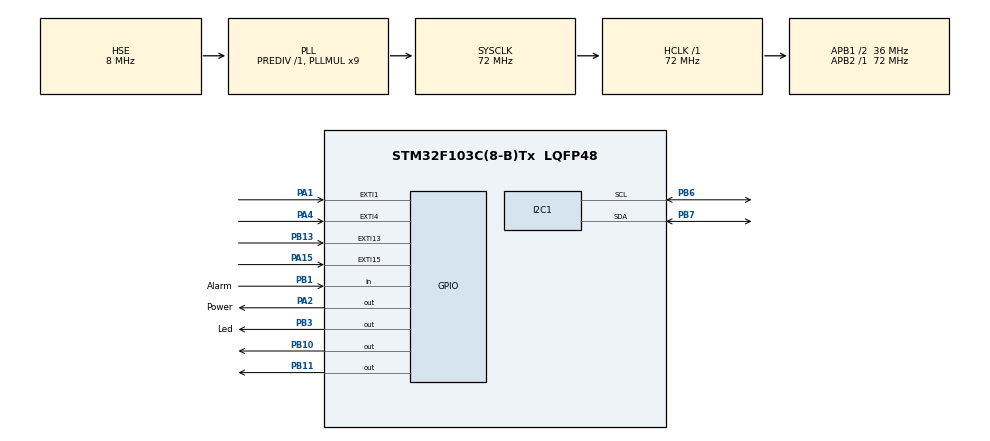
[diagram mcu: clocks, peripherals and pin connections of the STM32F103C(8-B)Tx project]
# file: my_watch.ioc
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FREERTOS.BinarySemaphores01=Key_State,Dynamic,NULL
FREERTOS.INCLUDE_vTaskCleanUpResources=0
FREERTOS.INCLUDE_vTaskDelete=1
FREERTOS.INCLUDE_vTaskPrioritySet=1
FREERTOS.Mutexes01=Time_Signal,Dynamic,NULL;Gyro_Signal,Dynamic,NULL;SW_Signal,Dynamic,NULL
FREERTOS.Tasks01=defaultTask,0,128,StartDefaultTask,Default,NULL,Dynamic,NULL,NULL;RTC_Task,1,64,Read_Time,As external,NULL,Dynamic,NULL,NULL;Root_task,-1,128,Display_Root,As external,NULL,Dynamic,NULL,NULL;Change_Task,-1,128,Display_ChangeTime,As external,NULL,Dynamic,NULL,NULL;Menu_Task,-1,128,Display_Menu,As external,NULL,Dynamic,NULL,NULL;Cartoon_Task,-1,128,Display_Cartoon,As external,NULL,Dynamic,NULL,NULL;Cyro_Task,0,128,Read_Cyro,As external,NULL,Dynamic,NULL,NULL;AlarmSet_Task,-1,128,Alarm_Set,As external,NULL,Dynamic,NULL,NULL;AlarmGo_Task,-1,64,Alarm_Go,As external,NULL,Dynamic,NULL,NULL;Timing_Task,-1,128,Timing,As external,NULL,Dynamic,NULL,NULL;Game_Task,-1,128,Game,As external,NULL,Dynamic,NULL,NULL;Key_Task,1,64,Key_Scan,As external,NULL,Dynamic,NULL,NULL
FREERTOS.configIDLE_SHOULD_YIELD=0
FREERTOS.configMAX_PRIORITIES=5
FREERTOS.configMINIMAL_STACK_SIZE=64
FREERTOS.configTOTAL_HEAP_SIZE=7168
FREERTOS.configUSE_APPLICATION_TASK_TAG=1
FREERTOS.configUSE_MUTEXES=1
I2C1.I2C_Mode=I2C_Fast
Mcu.Family=STM32F1
Mcu.Name=STM32F103C(8-B)Tx
Mcu.Package=LQFP48
NVIC.EXTI15_10_IRQn=true\:5\:0\:false\:false\:true\:true\:true\:true\:true
NVIC.EXTI1_IRQn=true\:5\:0\:false\:false\:true\:true\:true\:true\:true
NVIC.EXTI4_IRQn=true\:5\:0\:false\:false\:true\:true\:true\:true\:true
NVIC.PriorityGroup=NVIC_PRIORITYGROUP_4
NVIC.TIM1_UP_IRQn=true\:15\:0\:false\:false\:true\:false\:false\:true\:true
NVIC.TIM3_IRQn=true\:5\:0\:false\:false\:true\:true\:true\:true\:true
NVIC.TIM4_IRQn=true\:5\:0\:false\:false\:true\:true\:true\:true\:true
NVIC.TimeBase=TIM1_UP_IRQn
NVIC.TimeBaseIP=TIM1
PA1.GPIO_PuPd=GPIO_PULLUP
PA1.Signal=GPXTI1
PA13.Mode=Serial_Wire
PA13.Signal=SYS_JTMS-SWDIO
PA14.Mode=Serial_Wire
PA14.Signal=SYS_JTCK-SWCLK
PA15.GPIO_ModeDefaultEXTI=GPIO_MODE_IT_FALLING
PA15.GPIO_PuPd=GPIO_PULLUP
PA15.Signal=GPXTI15
PA2.GPIO_Label=Power
PA2.PinState=GPIO_PIN_SET
PA2.Signal=GPIO_Output
PA4.GPIO_ModeDefaultEXTI=GPIO_MODE_IT_FALLING
PA4.GPIO_PuPd=GPIO_PULLUP
PA4.Signal=GPXTI4
PB1.GPIO_Label=Alarm
PB1.GPIO_PuPd=GPIO_PULLUP
PB1.Signal=GPIO_Input
PB10.GPIO_Speed=GPIO_SPEED_FREQ_HIGH
PB10.PinState=GPIO_PIN_RESET
PB10.Signal=GPIO_Output
PB11.GPIO_Speed=GPIO_SPEED_FREQ_HIGH
PB11.Signal=GPIO_Output
PB13.GPIO_ModeDefaultEXTI=GPIO_MODE_IT_FALLING
PB13.GPIO_PuPd=GPIO_PULLUP
PB13.Signal=GPXTI13
PB3.GPIO_Label=Led
PB3.Signal=GPIO_Output
PB6.Mode=I2C
PB6.Signal=I2C1_SCL
PB7.Mode=I2C
PB7.Signal=I2C1_SDA
PD0-OSC_IN.Mode=HSE-External-Oscillator
PD0-OSC_IN.Signal=RCC_OSC_IN
PD1-OSC_OUT.Mode=HSE-External-Oscillator
PD1-OSC_OUT.Signal=RCC_OSC_OUT
ProjectManager.HeapSize=0x200
ProjectManager.StackSize=0x400
ProjectManager.TargetToolchain=MDK-ARM V5.32
RCC.AHBFreq_Value=72000000
RCC.APB1CLKDivider=RCC_HCLK_DIV2
RCC.APB1Freq_Value=36000000
RCC.APB1TimFreq_Value=72000000
RCC.APB2Freq_Value=72000000
RCC.APB2TimFreq_Value=72000000
RCC.HCLKFreq_Value=72000000
RCC.PLLMUL=RCC_PLL_MUL9
RCC.PLLSourceVirtual=RCC_PLLSOURCE_HSE
RCC.SYSCLKFreq_VALUE=72000000
RCC.SYSCLKSource=RCC_SYSCLKSOURCE_PLLCLK
RCC.USBFreq_Value=72000000
TIM3.Period=9999
TIM3.Prescaler=7199
TIM4.Period=9999
TIM4.Prescaler=7199
VP_FREERTOS_VS_CMSIS_V1.Mode=CMSIS_V1
VP_SYS_VS_tim1.Mode=TIM1
VP_TIM3_VS_ClockSourceINT.Mode=Internal
VP_TIM4_VS_ClockSourceINT.Mode=Internal
board=custom

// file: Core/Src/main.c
/* USER CODE BEGIN Header */
/**
  ******************************************************************************
  * @file           : main.c
  * @brief          : Main program body
  ******************************************************************************
  * @attention
  *
  * Copyright (c) 2026 STMicroelectronics.
  * All rights reserved.
  *
  * This software is licensed under terms that can be found in the LICENSE file
  * in the root directory of this software component.
  * If no LICENSE file comes with this software, it is provided AS-IS.
  *
  ******************************************************************************
  */
/* USER CODE END Header */
#include "main.h"
#include "cmsis_os.h"
#include "i2c.h"
#include "tim.h"
#include "gpio.h"

/* USER CODE BEGIN Includes */
#include "Task.h"
#include "oled.h"
#include "AllInclude.h"
/* USER CODE END Includes */

/* USER CODE BEGIN PTD */
extern uint8_t No_OperationTime;
extern _Bool OLED_Mode;
/* USER CODE END PTD */

void SystemClock_Config(void);
void MX_FREERTOS_Init(void);

int main(void)
{

  /* MCU Configuration--------------------------------------------------------*/

  /* Reset of all peripherals, Initializes the Flash interface and the Systick. */
  HAL_Init();

  /* Configure the system clock */
  SystemClock_Config();

  /* Initialize all configured peripherals */
  MX_GPIO_Init();
  MX_I2C1_Init();
  MX_TIM3_Init();
  MX_TIM4_Init();
  /* USER CODE BEGIN 2 */
  OLED_Init();
  /* USER CODE END 2 */

  /* Call init function for freertos objects (in freertos.c) */
  MX_FREERTOS_Init();

  /* Start scheduler */
  osKernelStart();

  /* We should never get here as control is now taken by the scheduler */
  /* Infinite loop */
  while (1)
  {

  }
}

void SystemClock_Config(void)
{
  RCC_OscInitTypeDef RCC_OscInitStruct = {0};
  RCC_ClkInitTypeDef RCC_ClkInitStruct = {0};

  /** Initializes the RCC Oscillators according to the specified parameters
  * in the RCC_OscInitTypeDef structure.
  */
  RCC_OscInitStruct.OscillatorType = RCC_OSCILLATORTYPE_HSE;
  RCC_OscInitStruct.HSEState = RCC_HSE_ON;
  RCC_OscInitStruct.HSEPredivValue = RCC_HSE_PREDIV_DIV1;
  RCC_OscInitStruct.HSIState = RCC_HSI_ON;
  RCC_OscInitStruct.PLL.PLLState = RCC_PLL_ON;
  RCC_OscInitStruct.PLL.PLLSource = RCC_PLLSOURCE_HSE;
  RCC_OscInitStruct.PLL.PLLMUL = RCC_PLL_MUL9;
  if (HAL_RCC_OscConfig(&RCC_OscInitStruct) != HAL_OK)
  {
    Error_Handler();
  }

  /** Initializes the CPU, AHB and APB buses clocks
  */
  RCC_ClkInitStruct.ClockType = RCC_CLOCKTYPE_HCLK|RCC_CLOCKTYPE_SYSCLK
                              |RCC_CLOCKTYPE_PCLK1|RCC_CLOCKTYPE_PCLK2;
  RCC_ClkInitStruct.SYSCLKSource = RCC_SYSCLKSOURCE_PLLCLK;
  RCC_ClkInitStruct.AHBCLKDivider = RCC_SYSCLK_DIV1;
  RCC_ClkInitStruct.APB1CLKDivider = RCC_HCLK_DIV2;
  RCC_ClkInitStruct.APB2CLKDivider = RCC_HCLK_DIV1;

  if (HAL_RCC_ClockConfig(&RCC_ClkInitStruct, FLASH_LATENCY_2) != HAL_OK)
  {
    Error_Handler();
  }
}

void HAL_TIM_PeriodElapsedCallback(TIM_HandleTypeDef *htim)
{
  if (htim->Instance == TIM1) {
    HAL_IncTick();
  }
  /* USER CODE BEGIN Callback 1 */
  else if(htim == (&htim3))
  {
    No_OperationTime++;
    if (!OLED_Mode)
    {
      No_OperationTime = 200;
      OLED_Display_Off();
      HAL_TIM_Base_Stop_IT(&htim3);
    }

  } else if (htim == (&htim4))
  {
    Timing_Num[1]++;
    Timing_Num[0] += Timing_Num[1] / 60;
    Timing_Num[1] %= 60;
    Timing_Num[0] %= 100;
  }

  /* USER CODE END Callback 1 */
}

void Error_Handler(void)
{
  __disable_irq();
  while (1)
  {
  }
}

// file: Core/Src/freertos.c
/* USER CODE BEGIN Header */
/**
  ******************************************************************************
  * File Name          : freertos.c
  * Description        : Code for freertos applications
  ******************************************************************************
  * @attention
  *
  * Copyright (c) 2026 STMicroelectronics.
  * All rights reserved.
  *
  * This software is licensed under terms that can be found in the LICENSE file
  * in the root directory of this software component.
  * If no LICENSE file comes with this software, it is provided AS-IS.
  *
  ******************************************************************************
  */
/* USER CODE END Header */

#include "FreeRTOS.h"
#include "task.h"
#include "main.h"
#include "cmsis_os.h"

osThreadId defaultTaskHandle;
osThreadId RTC_TaskHandle;
osThreadId Root_TaskHandle;
osThreadId Change_TaskHandle;
osThreadId Menu_TaskHandle;
osThreadId Cartoon_TaskHandle;
osThreadId Gyro_TaskHandle;
osThreadId AlarmSet_TaskHandle;
osThreadId AlarmGo_TaskHandle;
osThreadId Timing_TaskHandle;
osThreadId Game_TaskHandle;
osThreadId Key_TaskHandle;
osMutexId Time_SignalHandle;
osMutexId Gyro_SignalHandle;
osMutexId SW_SignalHandle;
osSemaphoreId Key_StateHandle;

/* USER CODE BEGIN FunctionPrototypes */
osThreadId *Custom_Features[] = {
    &Cartoon_TaskHandle,
    &AlarmSet_TaskHandle,
    &Timing_TaskHandle,
    &Game_TaskHandle
};
/* USER CODE END FunctionPrototypes */

void StartDefaultTask(void const * argument);
extern void Read_Time(void const * argument);
extern void Display_Root(void const * argument);
extern void Display_ChangeTime(void const * argument);
extern void Display_Menu(void const * argument);
extern void Display_Cartoon(void const * argument);
extern void Read_Gyro(void const * argument);
extern void Alarm_Set(void const * argument);
extern void Alarm_GO(void const * argument);
extern void Timing(void const * argument);
extern void Game(void const * argument);
extern void Key_Scan(void const * argument);

void MX_FREERTOS_Init(void); /* (MISRA C 2004 rule 8.1) */

/* GetIdleTaskMemory prototype (linked to static allocation support) */
void vApplicationGetIdleTaskMemory( StaticTask_t **ppxIdleTaskTCBBuffer, StackType_t **ppxIdleTaskStackBuffer, uint32_t *pulIdleTaskStackSize );

/* USER CODE BEGIN GET_IDLE_TASK_MEMORY */
static StaticTask_t xIdleTaskTCBBuffer;
static StackType_t xIdleStack[configMINIMAL_STACK_SIZE];

void vApplicationGetIdleTaskMemory( StaticTask_t **ppxIdleTaskTCBBuffer, StackType_t **ppxIdleTaskStackBuffer, uint32_t *pulIdleTaskStackSize )
{
  *ppxIdleTaskTCBBuffer = &xIdleTaskTCBBuffer;
  *ppxIdleTaskStackBuffer = &xIdleStack[0];
  *pulIdleTaskStackSize = configMINIMAL_STACK_SIZE;
  /* place for user code */
}
/* USER CODE END GET_IDLE_TASK_MEMORY */

void MX_FREERTOS_Init(void) {
  /* Create the mutex(es) */
  /* definition and creation of Time_Signal */
  osMutexDef(Time_Signal);
  Time_SignalHandle = osMutexCreate(osMutex(Time_Signal));

  /* definition and creation of Gyro_Signal */
  osMutexDef(Gyro_Signal);
  Gyro_SignalHandle = osMutexCreate(osMutex(Gyro_Signal));

  /* definition and creation of SW_Signal */
  osMutexDef(SW_Signal);
  SW_SignalHandle = osMutexCreate(osMutex(SW_Signal));

  /* Create the semaphores(s) */
  /* definition and creation of Key_State */
  osSemaphoreDef(Key_State);
  Key_StateHandle = osSemaphoreCreate(osSemaphore(Key_State), 1);

  /* Create the thread(s) */
  /* definition and creation of defaultTask */
  osThreadDef(defaultTask, StartDefaultTask, osPriorityNormal, 0, 128);
  defaultTaskHandle = osThreadCreate(osThread(defaultTask), NULL);

  /* definition and creation of RTC_Task */
  osThreadDef(RTC_Task, Read_Time, osPriorityAboveNormal, 0, 64);
  RTC_TaskHandle = osThreadCreate(osThread(RTC_Task), NULL);

  /* definition and creation of Root_task */
  osThreadDef(Root_task, Display_Root, osPriorityBelowNormal, 0, 128);
  Root_TaskHandle = osThreadCreate(osThread(Root_task), NULL);

  /* definition and creation of Change_Task */
  osThreadDef(Change_Task, Display_ChangeTime, osPriorityBelowNormal, 0, 128);
  Change_TaskHandle = osThreadCreate(osThread(Change_Task), NULL);

  /* definition and creation of Menu_Task */
  osThreadDef(Menu_Task, Display_Menu, osPriorityBelowNormal, 0, 128);
  Menu_TaskHandle = osThreadCreate(osThread(Menu_Task), NULL);

  /* definition and creation of Cartoon_Task */
  osThreadDef(Cartoon_Task, Display_Cartoon, osPriorityBelowNormal, 0, 128);
  Cartoon_TaskHandle = osThreadCreate(osThread(Cartoon_Task), NULL);

  /* definition and creation of Gyro_Task */
  osThreadDef(Cyro_Task, Read_Gyro, osPriorityNormal, 0, 128);
  Gyro_TaskHandle = osThreadCreate(osThread(Cyro_Task), NULL);

  /* definition and creation of AlarmSet_Task */
  osThreadDef(AlarmSet_Task, Alarm_Set, osPriorityBelowNormal, 0, 128);
  AlarmSet_TaskHandle = osThreadCreate(osThread(AlarmSet_Task), NULL);

  /* definition and creation of AlarmGo_Task */
  osThreadDef(AlarmGo_Task, Alarm_GO, osPriorityBelowNormal, 0, 64);
  AlarmGo_TaskHandle = osThreadCreate(osThread(AlarmGo_Task), NULL);

  /* definition and creation of Timing_Task */
  osThreadDef(Timing_Task, Timing, osPriorityBelowNormal, 0, 128);
  Timing_TaskHandle = osThreadCreate(osThread(Timing_Task), NULL);

  /* definition and creation of Game_Task */
  osThreadDef(Game_Task, Game, osPriorityBelowNormal, 0, 128);
  Game_TaskHandle = osThreadCreate(osThread(Game_Task), NULL);

  /* definition and creation of Key_Task */
  osThreadDef(Key_Task, Key_Scan, osPriorityAboveNormal, 0, 64);
  Key_TaskHandle = osThreadCreate(osThread(Key_Task), NULL);

}

void StartDefaultTask(void const * argument)
{
  for(;;)
  {
    osDelay(1);
  }
}
